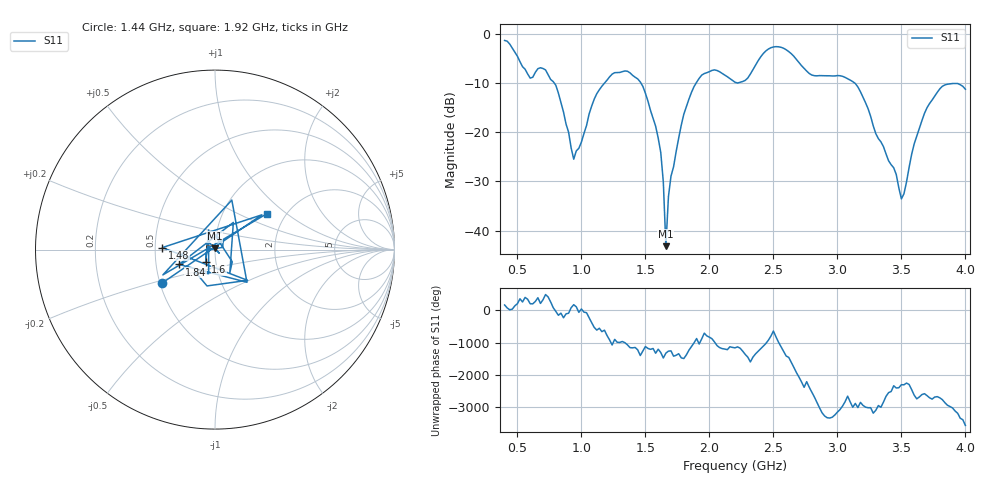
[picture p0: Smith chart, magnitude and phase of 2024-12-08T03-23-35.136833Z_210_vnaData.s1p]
!Created with skrf (http://scikit-rf.org).
# Hz S RI R 50.0
!freq ReS11 ImS11
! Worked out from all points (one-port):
!   181 points, 400 MHz to 4 GHz, reference 50 ohm
!   lowest |S11| = -43.2 dB at 1.66 GHz (marker M1), VSWR 1.01, Z = 49.7 + j0.645 ohm
!   |S11| at or under -10 dB: 788.3 MHz to 1.181 GHz (392.4 MHz wide, 39.9 % of centre); 1.465 GHz to 1.896 GHz (430.6 MHz wide, 25.6 % of centre); 3.136 GHz to end of sweep
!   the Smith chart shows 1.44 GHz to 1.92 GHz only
!   S11 on the Smith chart (normalised r, x): 1.44 GHz: 0.51, -0.22; 1.48 GHz: 0.55, +0.01; 1.6 GHz: 0.89, -0.13; 1.84 GHz: 0.66, -0.11; 1.92 GHz: 1.61, +0.74
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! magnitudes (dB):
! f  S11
! 400 MHz  -1.3
! 600 MHz  -9.0
! 720 MHz  -7.3
! 860 MHz  -15.9
! 940 MHz  -25.5
! 1.12 GHz  -12.2
! 1.3 GHz  -7.8
! 1.44 GHz  -9.1
! 1.48 GHz  -10.6
! 1.6 GHz  -21.2
! 1.64 GHz  -30.1
! 1.66 GHz  -43.2
! 1.68 GHz  -33.1
! 1.76 GHz  -21.2
! 1.84 GHz  -13.3
! 1.92 GHz  -9.0
! 2.04 GHz  -7.3
! 2.2 GHz  -9.8
! 2.48 GHz  -2.8
! 2.66 GHz  -4.5
! 2.8 GHz  -8.4
! 3.1 GHz  -9.4
! 3.44 GHz  -27.2
! 3.5 GHz  -33.5
! 3.56 GHz  -27.2
! 3.68 GHz  -16.2
! 3.78 GHz  -11.9
! 4 GHz  -11.2
